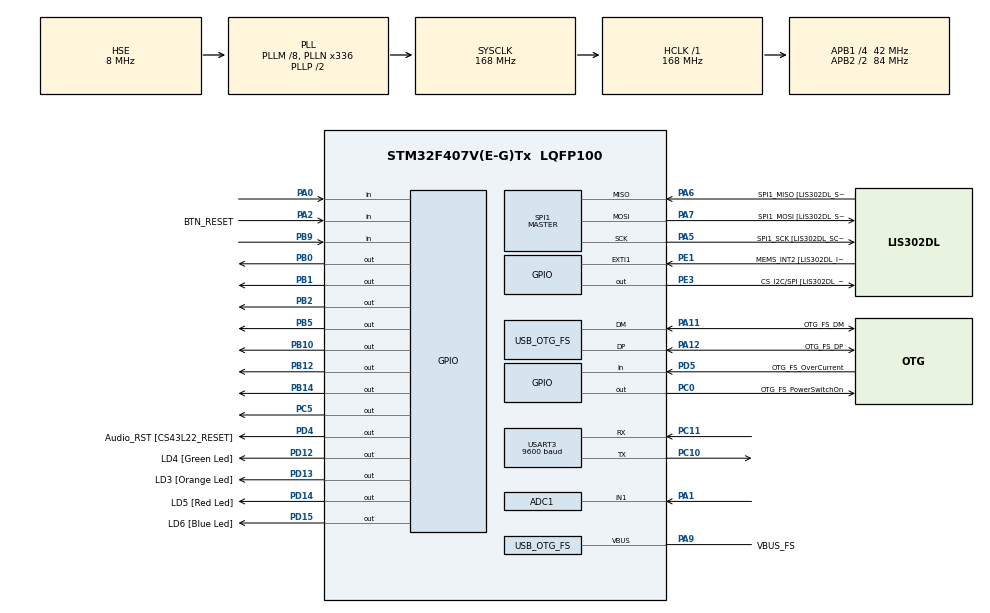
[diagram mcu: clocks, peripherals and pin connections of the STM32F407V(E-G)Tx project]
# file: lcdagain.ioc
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ADC1.Channel-1\#ChannelRegularConversion=ADC_CHANNEL_1
ADC1.NbrOfConversionFlag=1
ADC1.Rank-1\#ChannelRegularConversion=1
ADC1.SamplingTime-1\#ChannelRegularConversion=ADC_SAMPLETIME_3CYCLES
ADC1.master=1
Mcu.Family=STM32F4
Mcu.Name=STM32F407V(E-G)Tx
Mcu.Package=LQFP100
NVIC.OTG_FS_IRQn=true\:0\:0\:false\:false\:true\:true\:true\:true
NVIC.PriorityGroup=NVIC_PRIORITYGROUP_0
PA0-WKUP.GPIO_PuPd=GPIO_PULLUP
PA0-WKUP.Signal=GPIO_Input
PA1.Signal=ADCx_IN1
PA10.GPIO_Label=OTG_FS_ID
PA10.GPIO_Mode=GPIO_MODE_AF_PP
PA10.GPIO_PuPd=GPIO_NOPULL
PA10.GPIO_Speed=GPIO_SPEED_FREQ_LOW
PA10.Signal=USB_OTG_FS_ID
PA11.GPIO_Label=OTG_FS_DM
PA11.GPIO_Mode=GPIO_MODE_AF_PP
PA11.GPIO_PuPd=GPIO_NOPULL
PA11.GPIO_Speed=GPIO_SPEED_FREQ_LOW
PA11.Mode=Host_Only
PA11.Signal=USB_OTG_FS_DM
PA12.GPIO_Label=OTG_FS_DP
PA12.GPIO_Mode=GPIO_MODE_AF_PP
PA12.GPIO_PuPd=GPIO_NOPULL
PA12.GPIO_Speed=GPIO_SPEED_FREQ_LOW
PA12.Mode=Host_Only
PA12.Signal=USB_OTG_FS_DP
PA13.GPIO_Label=SWDIO
PA13.Mode=Serial_Wire
PA13.Signal=SYS_JTMS-SWDIO
PA14.GPIO_Label=SWCLK
PA14.Mode=Serial_Wire
PA14.Signal=SYS_JTCK-SWCLK
PA2.GPIO_Label=BTN_RESET
PA2.GPIO_PuPd=GPIO_PULLDOWN
PA2.Signal=GPIO_Input
PA4.GPIO_Label=I2S3_WS [CS43L22_LRCK]
PA4.GPIO_Mode=GPIO_MODE_AF_PP
PA4.GPIO_PuPd=GPIO_NOPULL
PA4.GPIO_Speed=GPIO_SPEED_FREQ_LOW
PA4.Signal=I2S3_WS
PA5.GPIO_Label=SPI1_SCK [LIS302DL_SCL/SPC]
PA5.GPIO_Mode=GPIO_MODE_AF_PP
PA5.GPIO_PuPd=GPIO_NOPULL
PA5.GPIO_Speed=GPIO_SPEED_FREQ_LOW
PA5.Mode=Full_Duplex_Master
PA5.Signal=SPI1_SCK
PA6.GPIO_Label=SPI1_MISO [LIS302DL_SDO]
PA6.GPIO_Mode=GPIO_MODE_AF_PP
PA6.GPIO_PuPd=GPIO_NOPULL
PA6.GPIO_Speed=GPIO_SPEED_FREQ_LOW
PA6.Mode=Full_Duplex_Master
PA6.Signal=SPI1_MISO
PA7.GPIO_Label=SPI1_MOSI [LIS302DL_SDA/SDI/SDO]
PA7.GPIO_Mode=GPIO_MODE_AF_PP
PA7.GPIO_PuPd=GPIO_NOPULL
PA7.GPIO_Speed=GPIO_SPEED_FREQ_LOW
PA7.Mode=Full_Duplex_Master
PA7.Signal=SPI1_MOSI
PA9.GPIO_Label=VBUS_FS
PA9.GPIO_Mode=GPIO_MODE_INPUT
PA9.GPIO_PuPd=GPIO_NOPULL
PA9.Mode=Activate_VBUS
PA9.Signal=USB_OTG_FS_VBUS
PB0.Signal=GPIO_Output
PB1.Signal=GPIO_Output
PB10.Signal=GPIO_Output
PB12.Signal=GPIO_Output
PB14.Signal=GPIO_Output
PB2.Signal=GPIO_Output
PB3.GPIO_Label=SWO
PB3.Signal=SYS_JTDO-SWO
PB5.Signal=GPIO_Output
PB6.GPIO_Label=Audio_SCL [CS43L22_SCL]
PB6.GPIO_Mode=GPIO_MODE_AF_OD
PB6.GPIO_Pu=GPIO_PULLUP
PB6.GPIO_PuPd=GPIO_NOPULL
PB6.GPIO_Speed=GPIO_SPEED_FREQ_LOW
PB6.Signal=I2C1_SCL
PB9.Signal=GPIO_Input
PC0.GPIO_Label=OTG_FS_PowerSwitchOn
PC0.GPIO_PuPd=GPIO_NOPULL
PC0.GPIO_Speed=GPIO_SPEED_FREQ_LOW
PC0.PinState=GPIO_PIN_SET
PC0.Signal=GPIO_Output
PC10.Mode=Asynchronous
PC10.Signal=USART3_TX
PC11.Mode=Asynchronous
PC11.Signal=USART3_RX
PC12.GPIO_Label=I2S3_SD [CS43L22_SDIN]
PC12.GPIO_Mode=GPIO_MODE_AF_PP
PC12.GPIO_PuPd=GPIO_NOPULL
PC12.GPIO_Speed=GPIO_SPEED_FREQ_LOW
PC12.Signal=I2S3_SD
PC14-OSC32_IN.GPIO_Label=PC14-OSC32_IN
PC14-OSC32_IN.Mode=LSE-External-Oscillator
PC14-OSC32_IN.Signal=RCC_OSC32_IN
PC15-OSC32_OUT.GPIO_Label=PC15-OSC32_OUT
PC15-OSC32_OUT.Mode=LSE-External-Oscillator
PC15-OSC32_OUT.Signal=RCC_OSC32_OUT
PC3.GPIO_Label=PDM_OUT [MP45DT02_DOUT]
PC3.GPIO_Mode=GPIO_MODE_AF_PP
PC3.GPIO_PuPd=GPIO_NOPULL
PC3.GPIO_Speed=GPIO_SPEED_FREQ_LOW
PC3.Signal=I2S2_SD
PC5.Signal=GPIO_Output
PC7.GPIO_Label=I2S3_MCK [CS43L22_MCLK]
PC7.GPIO_Mode=GPIO_MODE_AF_PP
PC7.GPIO_PuPd=GPIO_NOPULL
PC7.GPIO_Speed=GPIO_SPEED_FREQ_LOW
PC7.Signal=I2S3_MCK
PD12.GPIO_Label=LD4 [Green Led]
PD12.GPIO_PuPd=GPIO_NOPULL
PD12.GPIO_Speed=GPIO_SPEED_FREQ_LOW
PD12.Signal=GPIO_Output
PD13.GPIO_Label=LD3 [Orange Led]
PD13.GPIO_PuPd=GPIO_NOPULL
PD13.GPIO_Speed=GPIO_SPEED_FREQ_LOW
PD13.Signal=GPIO_Output
PD14.GPIO_Label=LD5 [Red Led]
PD14.GPIO_PuPd=GPIO_NOPULL
PD14.GPIO_Speed=GPIO_SPEED_FREQ_LOW
PD14.Signal=GPIO_Output
PD15.GPIO_Label=LD6 [Blue Led]
PD15.GPIO_PuPd=GPIO_NOPULL
PD15.GPIO_Speed=GPIO_SPEED_FREQ_LOW
PD15.Signal=GPIO_Output
PD4.GPIO_Label=Audio_RST [CS43L22_RESET]
PD4.GPIO_PuPd=GPIO_NOPULL
PD4.GPIO_Speed=GPIO_SPEED_FREQ_LOW
PD4.Signal=GPIO_Output
PD5.GPIO_Label=OTG_FS_OverCurrent
PD5.GPIO_Mode=GPIO_MODE_INPUT
PD5.GPIO_PuPd=GPIO_NOPULL
PD5.Signal=GPIO_Input
PE1.GPIO_Label=MEMS_INT2 [LIS302DL_INT2]
PE1.GPIO_ModeDefaultEXTI=GPIO_MODE_EVT_RISING
PE1.GPIO_PuPd=GPIO_NOPULL
PE1.Signal=GPXTI1
PE3.GPIO_Label=CS_I2C/SPI [LIS302DL_CS_I2C/SPI]
PE3.GPIO_PuPd=GPIO_NOPULL
PE3.GPIO_Speed=GPIO_SPEED_FREQ_LOW
PE3.Signal=GPIO_Output
PH0-OSC_IN.GPIO_Label=PH0-OSC_IN
PH0-OSC_IN.Mode=HSE-External-Oscillator
PH0-OSC_IN.Signal=RCC_OSC_IN
PH1-OSC_OUT.GPIO_Label=PH1-OSC_OUT
PH1-OSC_OUT.Mode=HSE-External-Oscillator
PH1-OSC_OUT.Signal=RCC_OSC_OUT
ProjectManager.HeapSize=0x200
ProjectManager.StackSize=0x400
ProjectManager.TargetToolchain=STM32CubeIDE
RCC.48MHZClocksFreq_Value=48000000
RCC.AHBFreq_Value=168000000
RCC.APB1CLKDivider=RCC_HCLK_DIV4
RCC.APB1Freq_Value=42000000
RCC.APB1TimFreq_Value=84000000
RCC.APB2CLKDivider=RCC_HCLK_DIV2
RCC.APB2Freq_Value=84000000
RCC.APB2TimFreq_Value=168000000
RCC.CortexFreq_Value=168000000
RCC.HCLKFreq_Value=168000000
RCC.HSE_VALUE=8000000
RCC.HSI_VALUE=16000000
RCC.PLLM=8
RCC.PLLN=336
RCC.PLLQ=7
RCC.SYSCLKFreq_VALUE=168000000
RCC.SYSCLKSource=RCC_SYSCLKSOURCE_PLLCLK
RCC.VCOOutputFreq_Value=336000000
SH.ADCx_IN1.0=ADC1_IN1,IN1
SPI1.BaudRatePrescaler-Full_Duplex_Master=SPI_BAUDRATEPRESCALER_2
SPI1.CalculateBaudRate-Full_Duplex_Master=42.0 MBits/s
SPI1.Direction=SPI_DIRECTION_2LINES
SPI1.Mode=SPI_MODE_MASTER
SPI1.Mode-Full_Duplex_Master=SPI_MODE_MASTER
SPI1.VirtualType=VM_MASTER
TIM2.Period=4294967295
TIM2.Prescaler=83
USART3.BaudRate=9600
USART3.VirtualMode=VM_ASYNC
USB_HOST.BSP.number=1
USB_HOST.USBH_HandleTypeDef-CDC_FS=hUsbHostFS
USB_HOST.VirtualModeFS=Cdc
USB_HOST0.BSP.STBoard=false
USB_HOST0.BSP.api=Unknown
USB_HOST0.BSP.instance=PC0
USB_HOST0.BSP.ip=GPIO
USB_HOST0.BSP.mode=Output
USB_HOST0.BSP.name=Drive_VBUS_FS
USB_HOST0.BSP.solution=PC0
USB_OTG_FS.VirtualMode=Host_Only
USB_OTG_FS.phy_itface=HCD_PHY_EMBEDDED
VP_TIM2_VS_ClockSourceINT.Mode=Internal
VP_USB_HOST_VS_USB_HOST_CDC_FS.Mode=CDC_FS
board=STM32F407G-DISC1

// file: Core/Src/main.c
/* USER CODE BEGIN Header */
/**
  ******************************************************************************
  * @file           : main.c
  * @brief          : Main program body
  ******************************************************************************
  * @attention
  *
  * Copyright (c) 2025 STMicroelectronics.
  * All rights reserved.
  *
  * This software is licensed under terms that can be found in the LICENSE file
  * in the root directory of this software component.
  * If no LICENSE file comes with this software, it is provided AS-IS.
  *
  ******************************************************************************
  */
/* USER CODE END Header */
#include "main.h"
#include "usb_host.h"

/* USER CODE BEGIN Includes */
#include "lcd.h"
#include <math.h>
#include <string.h>
#include <stdio.h>
#include "dht22.h"
/* USER CODE END Includes */

ADC_HandleTypeDef hadc1;

SPI_HandleTypeDef hspi1;

TIM_HandleTypeDef htim2;

UART_HandleTypeDef huart3;

/* USER CODE BEGIN PV */
extern TIM_HandleTypeDef htim2;   // you already have TIM2 handle
DHT22_Data dht;                   // holds Temperature (°C) and Humidity (%RH)
uint32_t dht_last_ms = 0;    // to enforce DHT22 ≥2s sampling interval
#define BUZZER_PORT GPIOC
#define BUZZER_PIN  GPIO_PIN_5

/* USER CODE END PV */

void SystemClock_Config(void);
static void MX_GPIO_Init(void);
static void MX_SPI1_Init(void);
static void MX_ADC1_Init(void);
static void MX_USART3_UART_Init(void);
static void MX_TIM2_Init(void);
void MX_USB_HOST_Process(void);

/* USER CODE BEGIN 0 */
uint32_t mq_raw = 0;
float mq_voltage = 0;
float Rs = 0, ratio = 0;
uint8_t ldr_state = 0;
int alarm = 0;          // GLOBAL alarm flag
int alarm_latched = 0;  // stays ON until reset button pressed

// Calibration constant (You can calibrate later)
float Ro = 10.0;  // Assume clean-air baseline
/* USER CODE END 0 */

int main(void)
{

  /* USER CODE BEGIN 1 */
//	float temp, hum;

  /* USER CODE END 1 */

  /* MCU Configuration--------------------------------------------------------*/

  /* Reset of all peripherals, Initializes the Flash interface and the Systick. */
																																																																																																																																																																																																																																																																																																																																																																													HAL_Init();

  /* Configure the system clock */
  SystemClock_Config();

  /* Initialize all configured peripherals */
  MX_GPIO_Init();
  MX_SPI1_Init();
  MX_USB_HOST_Init();
  MX_ADC1_Init();
  MX_USART3_UART_Init();
  MX_TIM2_Init();
  /* USER CODE BEGIN 2 */
  HAL_TIM_Base_Start(&htim2);

  // ---- LCD POWER-UP FIX (prevents garbage on first boot) ----
  HAL_Delay(50);
  LCD_SendCommand(0x30);
  HAL_Delay(5);
  LCD_SendCommand(0x30);
  HAL_Delay(1);
  LCD_SendCommand(0x30);
  HAL_Delay(1);

  LCD_Init();
  LCD_SendCommand(0x01);
  HAL_Delay(3000);
  LCD_SendCommand(0x01);
  LCD_SendString("MQ2 Initializing");
  HAL_Delay(2000);

  // Start ADC
  HAL_ADC_Start(&hadc1);

  LCD_SendCommand(0x01);
  LCD_SendString("MQ2 Ready");
  HAL_Delay(1000);

  // ---- Initialize LCD ----
//  LCD_Init();
  HAL_Delay(500);

  LCD_SendCommand(0x01);
  LCD_SendString("Sending start...");
  HAL_Delay(2000);
  HAL_GPIO_WritePin(BUZZER_PORT, BUZZER_PIN, GPIO_PIN_RESET);

  /* USER CODE END 2 */

  /* Infinite loop */
  while (1)
  {
	  MX_USB_HOST_Process();

	      // --------- LDR ---------
	      ldr_state = HAL_GPIO_ReadPin(GPIOA, GPIO_PIN_0);
	      int L = (ldr_state == GPIO_PIN_RESET) ? 1 : 0;
	      char *ldr_text = (L == 1) ? "BRIGHT" : "DARK";

	      // --------- MQ-2 ADC ---------
	      HAL_ADC_Start(&hadc1);
	      HAL_ADC_PollForConversion(&hadc1, 100);
	      mq_raw = HAL_ADC_GetValue(&hadc1);

	      mq_voltage = (mq_raw * 3.3f) / 4095.0f;
	      Rs = (3.3f - mq_voltage) / (mq_voltage + 1e-6f);
	      ratio = Rs / Ro;

	      float ppm_lpg   = pow(10, ((log10(ratio) - (-0.47)) / (-0.36)));
	      float ppm_smoke = pow(10, ((log10(ratio) - (-0.42)) / (-0.48)));
	      float ppm_co    = pow(10, ((log10(ratio) - (-0.37)) / (-0.33)));

	      // --------- DHT22 every 2 sec ---------
	      if (HAL_GetTick() - dht_last_ms >= 2100)
	      {
	          DHT22_Read(&dht);
	          dht_last_ms = HAL_GetTick();
	      }

	      // --------- BUZZER THRESHOLDS ---------
	      int alarm = 0;

	      if (dht.Temperature > 30.0) alarm = 1;
//	      if (dht.Humidity > 70.) alarm = 1;
	      if (ppm_lpg   > 200.0)     alarm = 1;
	      if (ppm_smoke > 300.0)     alarm = 1;
	      if (ppm_co    > 50.0)      alarm = 1;

	      // --------- LATCH ALARM UNTIL RESET BUTTON PRESSED ---------
	      if (alarm) {
	          alarm_latched = 1;   // once alarm goes ON, it stays ON
	      }

	      // --------- RESET BUTTON (PA2, PULL-DOWN) ---------
	      if (HAL_GPIO_ReadPin(GPIOA, GPIO_PIN_2) == GPIO_PIN_SET)   // button pressed
	      {
	          HAL_Delay(50); // debounce
	          if (HAL_GPIO_ReadPin(GPIOA, GPIO_PIN_2) == GPIO_PIN_SET)
	          {
	              alarm_latched = 0;
	              HAL_GPIO_WritePin(BUZZER_PORT, BUZZER_PIN, GPIO_PIN_RESET);

	              // LCD feedback
	              LCD_SendCommand(0x01);
	              LCD_SendString(" Alarm Reset ");
	              HAL_Delay(500);
	          }
	      }

	      if (alarm_latched)
	          HAL_GPIO_WritePin(BUZZER_PORT, BUZZER_PIN, GPIO_PIN_SET);
	      else
	          HAL_GPIO_WritePin(BUZZER_PORT, BUZZER_PIN, GPIO_PIN_RESET);

	      // --------- LCD: ALL VALUES ON ONE SCREEN ---------
	      LCD_SendCommand(0x01);
	      HAL_Delay(5);

	      char line1[17];
	      snprintf(line1, sizeof(line1), "T:%2.0f H:%2.0f L:%c",
	               dht.Temperature, dht.Humidity, (L ? 'B' : 'D'));
	      LCD_SetCursor(0,0);
	      LCD_SendString(line1);

	      char line2[17];
	      snprintf(line2, sizeof(line2), "LPG:%3.0f CO:%3.0f", ppm_lpg, ppm_co);
	      LCD_SetCursor(1,0);
	      LCD_SendString(line2);

	      // --------- Bluetooth ---------
	      char bt_msg[200];
	      snprintf(bt_msg, sizeof(bt_msg),
	               "TEMP=%.1f,HUM=%.1f,LDR=%s,LPG=%.0f,SMOKE=%.0f,CO=%.0f,ALARM=%d\r\n",
	               dht.Temperature, dht.Humidity, ldr_text,
	               ppm_lpg, ppm_smoke, ppm_co, alarm_latched);

	      HAL_UART_Transmit(&huart3, (uint8_t*)bt_msg, strlen(bt_msg), 100);

	      HAL_Delay(500);
  }
  /* USER CODE END 3 */
}

void SystemClock_Config(void)
{
  RCC_OscInitTypeDef RCC_OscInitStruct = {0};
  RCC_ClkInitTypeDef RCC_ClkInitStruct = {0};

  /** Configure the main internal regulator output voltage
  */
  __HAL_RCC_PWR_CLK_ENABLE();
  __HAL_PWR_VOLTAGESCALING_CONFIG(PWR_REGULATOR_VOLTAGE_SCALE1);

  /** Initializes the RCC Oscillators according to the specified parameters
  * in the RCC_OscInitTypeDef structure.
  */
  RCC_OscInitStruct.OscillatorType = RCC_OSCILLATORTYPE_HSE;
  RCC_OscInitStruct.HSEState = RCC_HSE_ON;
  RCC_OscInitStruct.PLL.PLLState = RCC_PLL_ON;
  RCC_OscInitStruct.PLL.PLLSource = RCC_PLLSOURCE_HSE;
  RCC_OscInitStruct.PLL.PLLM = 8;
  RCC_OscInitStruct.PLL.PLLN = 336;
  RCC_OscInitStruct.PLL.PLLP = RCC_PLLP_DIV2;
  RCC_OscInitStruct.PLL.PLLQ = 7;
  if (HAL_RCC_OscConfig(&RCC_OscInitStruct) != HAL_OK)
  {
    Error_Handler();
  }

  /** Initializes the CPU, AHB and APB buses clocks
  */
  RCC_ClkInitStruct.ClockType = RCC_CLOCKTYPE_HCLK|RCC_CLOCKTYPE_SYSCLK
                              |RCC_CLOCKTYPE_PCLK1|RCC_CLOCKTYPE_PCLK2;
  RCC_ClkInitStruct.SYSCLKSource = RCC_SYSCLKSOURCE_PLLCLK;
  RCC_ClkInitStruct.AHBCLKDivider = RCC_SYSCLK_DIV1;
  RCC_ClkInitStruct.APB1CLKDivider = RCC_HCLK_DIV4;
  RCC_ClkInitStruct.APB2CLKDivider = RCC_HCLK_DIV2;

  if (HAL_RCC_ClockConfig(&RCC_ClkInitStruct, FLASH_LATENCY_5) != HAL_OK)
  {
    Error_Handler();
  }
}

static void MX_ADC1_Init(void)
{

  ADC_ChannelConfTypeDef sConfig = {0};

  /** Configure the global features of the ADC (Clock, Resolution, Data Alignment and number of conversion)
  */
  hadc1.Instance = ADC1;
  hadc1.Init.ClockPrescaler = ADC_CLOCK_SYNC_PCLK_DIV4;
  hadc1.Init.Resolution = ADC_RESOLUTION_12B;
  hadc1.Init.ScanConvMode = DISABLE;
  hadc1.Init.ContinuousConvMode = DISABLE;
  hadc1.Init.DiscontinuousConvMode = DISABLE;
  hadc1.Init.ExternalTrigConvEdge = ADC_EXTERNALTRIGCONVEDGE_NONE;
  hadc1.Init.ExternalTrigConv = ADC_SOFTWARE_START;
  hadc1.Init.DataAlign = ADC_DATAALIGN_RIGHT;
  hadc1.Init.NbrOfConversion = 1;
  hadc1.Init.DMAContinuousRequests = DISABLE;
  hadc1.Init.EOCSelection = ADC_EOC_SINGLE_CONV;
  if (HAL_ADC_Init(&hadc1) != HAL_OK)
  {
    Error_Handler();
  }

  /** Configure for the selected ADC regular channel its corresponding rank in the sequencer and its sample time.
  */
  sConfig.Channel = ADC_CHANNEL_1;
  sConfig.Rank = 1;
  sConfig.SamplingTime = ADC_SAMPLETIME_3CYCLES;
  if (HAL_ADC_ConfigChannel(&hadc1, &sConfig) != HAL_OK)
  {
    Error_Handler();
  }

}

static void MX_SPI1_Init(void)
{

  /* SPI1 parameter configuration*/
  hspi1.Instance = SPI1;
  hspi1.Init.Mode = SPI_MODE_MASTER;
  hspi1.Init.Direction = SPI_DIRECTION_2LINES;
  hspi1.Init.DataSize = SPI_DATASIZE_8BIT;
  hspi1.Init.CLKPolarity = SPI_POLARITY_LOW;
  hspi1.Init.CLKPhase = SPI_PHASE_1EDGE;
  hspi1.Init.NSS = SPI_NSS_SOFT;
  hspi1.Init.BaudRatePrescaler = SPI_BAUDRATEPRESCALER_2;
  hspi1.Init.FirstBit = SPI_FIRSTBIT_MSB;
  hspi1.Init.TIMode = SPI_TIMODE_DISABLE;
  hspi1.Init.CRCCalculation = SPI_CRCCALCULATION_DISABLE;
  hspi1.Init.CRCPolynomial = 10;
  if (HAL_SPI_Init(&hspi1) != HAL_OK)
  {
    Error_Handler();
  }

}

static void MX_TIM2_Init(void)
{

  TIM_ClockConfigTypeDef sClockSourceConfig = {0};
  TIM_MasterConfigTypeDef sMasterConfig = {0};

  htim2.Instance = TIM2;
  htim2.Init.Prescaler = 83;
  htim2.Init.CounterMode = TIM_COUNTERMODE_UP;
  htim2.Init.Period = 4294967295;
  htim2.Init.ClockDivision = TIM_CLOCKDIVISION_DIV1;
  htim2.Init.AutoReloadPreload = TIM_AUTORELOAD_PRELOAD_DISABLE;
  if (HAL_TIM_Base_Init(&htim2) != HAL_OK)
  {
    Error_Handler();
  }
  sClockSourceConfig.ClockSource = TIM_CLOCKSOURCE_INTERNAL;
  if (HAL_TIM_ConfigClockSource(&htim2, &sClockSourceConfig) != HAL_OK)
  {
    Error_Handler();
  }
  sMasterConfig.MasterOutputTrigger = TIM_TRGO_RESET;
  sMasterConfig.MasterSlaveMode = TIM_MASTERSLAVEMODE_DISABLE;
  if (HAL_TIMEx_MasterConfigSynchronization(&htim2, &sMasterConfig) != HAL_OK)
  {
    Error_Handler();
  }

}

static void MX_USART3_UART_Init(void)
{

  huart3.Instance = USART3;
  huart3.Init.BaudRate = 9600;
  huart3.Init.WordLength = UART_WORDLENGTH_8B;
  huart3.Init.StopBits = UART_STOPBITS_1;
  huart3.Init.Parity = UART_PARITY_NONE;
  huart3.Init.Mode = UART_MODE_TX_RX;
  huart3.Init.HwFlowCtl = UART_HWCONTROL_NONE;
  huart3.Init.OverSampling = UART_OVERSAMPLING_16;
  if (HAL_UART_Init(&huart3) != HAL_OK)
  {
    Error_Handler();
  }

}

static void MX_GPIO_Init(void)
{
  GPIO_InitTypeDef GPIO_InitStruct = {0};

  /* GPIO Ports Clock Enable */
  __HAL_RCC_GPIOE_CLK_ENABLE();
  __HAL_RCC_GPIOC_CLK_ENABLE();
  __HAL_RCC_GPIOH_CLK_ENABLE();
  __HAL_RCC_GPIOA_CLK_ENABLE();
  __HAL_RCC_GPIOB_CLK_ENABLE();
  __HAL_RCC_GPIOD_CLK_ENABLE();

  /*Configure GPIO pin Output Level */
  HAL_GPIO_WritePin(CS_I2C_SPI_GPIO_Port, CS_I2C_SPI_Pin, GPIO_PIN_RESET);

  /*Configure GPIO pin Output Level */
  HAL_GPIO_WritePin(OTG_FS_PowerSwitchOn_GPIO_Port, OTG_FS_PowerSwitchOn_Pin, GPIO_PIN_SET);

  /*Configure GPIO pin Output Level */
  HAL_GPIO_WritePin(GPIOC, GPIO_PIN_5, GPIO_PIN_RESET);

  /*Configure GPIO pin Output Level */
  HAL_GPIO_WritePin(GPIOB, GPIO_PIN_0|GPIO_PIN_1|GPIO_PIN_2|GPIO_PIN_10
                          |GPIO_PIN_12|GPIO_PIN_14|GPIO_PIN_5, GPIO_PIN_RESET);

  /*Configure GPIO pin Output Level */
  HAL_GPIO_WritePin(GPIOD, LD4_Pin|LD3_Pin|LD5_Pin|LD6_Pin
                          |Audio_RST_Pin, GPIO_PIN_RESET);

  /*Configure GPIO pin : CS_I2C_SPI_Pin */
  GPIO_InitStruct.Pin = CS_I2C_SPI_Pin;
  GPIO_InitStruct.Mode = GPIO_MODE_OUTPUT_PP;
  GPIO_InitStruct.Pull = GPIO_NOPULL;
  GPIO_InitStruct.Speed = GPIO_SPEED_FREQ_LOW;
  HAL_GPIO_Init(CS_I2C_SPI_GPIO_Port, &GPIO_InitStruct);

  /*Configure GPIO pins : OTG_FS_PowerSwitchOn_Pin PC5 */
  GPIO_InitStruct.Pin = OTG_FS_PowerSwitchOn_Pin|GPIO_PIN_5;
  GPIO_InitStruct.Mode = GPIO_MODE_OUTPUT_PP;
  GPIO_InitStruct.Pull = GPIO_NOPULL;
  GPIO_InitStruct.Speed = GPIO_SPEED_FREQ_LOW;
  HAL_GPIO_Init(GPIOC, &GPIO_InitStruct);

  /*Configure GPIO pin : PDM_OUT_Pin */
  GPIO_InitStruct.Pin = PDM_OUT_Pin;
  GPIO_InitStruct.Mode = GPIO_MODE_AF_PP;
  GPIO_InitStruct.Pull = GPIO_NOPULL;
  GPIO_InitStruct.Speed = GPIO_SPEED_FREQ_LOW;
  GPIO_InitStruct.Alternate = GPIO_AF5_SPI2;
  HAL_GPIO_Init(PDM_OUT_GPIO_Port, &GPIO_InitStruct);

  /*Configure GPIO pin : PA0 */
  GPIO_InitStruct.Pin = GPIO_PIN_0;
  GPIO_InitStruct.Mode = GPIO_MODE_INPUT;
  GPIO_InitStruct.Pull = GPIO_PULLUP;
  HAL_GPIO_Init(GPIOA, &GPIO_InitStruct);

  /*Configure GPIO pin : I2S3_WS_Pin */
  GPIO_InitStruct.Pin = I2S3_WS_Pin;
  GPIO_InitStruct.Mode = GPIO_MODE_AF_PP;
  GPIO_InitStruct.Pull = GPIO_NOPULL;
  GPIO_InitStruct.Speed = GPIO_SPEED_FREQ_LOW;
  GPIO_InitStruct.Alternate = GPIO_AF6_SPI3;
  HAL_GPIO_Init(I2S3_WS_GPIO_Port, &GPIO_InitStruct);

  /*Configure GPIO pins : PB0 PB1 PB2 PB10
                           PB12 PB14 PB5 */
  GPIO_InitStruct.Pin = GPIO_PIN_0|GPIO_PIN_1|GPIO_PIN_2|GPIO_PIN_10
                          |GPIO_PIN_12|GPIO_PIN_14|GPIO_PIN_5;
  GPIO_InitStruct.Mode = GPIO_MODE_OUTPUT_PP;
  GPIO_InitStruct.Pull = GPIO_NOPULL;
  GPIO_InitStruct.Speed = GPIO_SPEED_FREQ_LOW;
  HAL_GPIO_Init(GPIOB, &GPIO_InitStruct);

  /*Configure GPIO pins : LD4_Pin LD3_Pin LD5_Pin LD6_Pin
                           Audio_RST_Pin */
  GPIO_InitStruct.Pin = LD4_Pin|LD3_Pin|LD5_Pin|LD6_Pin
                          |Audio_RST_Pin;
  GPIO_InitStruct.Mode = GPIO_MODE_OUTPUT_PP;
  GPIO_InitStruct.Pull = GPIO_NOPULL;
  GPIO_InitStruct.Speed = GPIO_SPEED_FREQ_LOW;
  HAL_GPIO_Init(GPIOD, &GPIO_InitStruct);

  /*Configure GPIO pins : I2S3_MCK_Pin I2S3_SD_Pin */
  GPIO_InitStruct.Pin = I2S3_MCK_Pin|I2S3_SD_Pin;
  GPIO_InitStruct.Mode = GPIO_MODE_AF_PP;
  GPIO_InitStruct.Pull = GPIO_NOPULL;
  GPIO_InitStruct.Speed = GPIO_SPEED_FREQ_LOW;
  GPIO_InitStruct.Alternate = GPIO_AF6_SPI3;
  HAL_GPIO_Init(GPIOC, &GPIO_InitStruct);

  /*Configure GPIO pin : OTG_FS_OverCurrent_Pin */
  GPIO_InitStruct.Pin = OTG_FS_OverCurrent_Pin;
  GPIO_InitStruct.Mode = GPIO_MODE_INPUT;
  GPIO_InitStruct.Pull = GPIO_NOPULL;
  HAL_GPIO_Init(OTG_FS_OverCurrent_GPIO_Port, &GPIO_InitStruct);

  /*Configure GPIO pin : Audio_SCL_Pin */
  GPIO_InitStruct.Pin = Audio_SCL_Pin;
  GPIO_InitStruct.Mode = GPIO_MODE_AF_OD;
  GPIO_InitStruct.Pull = GPIO_PULLUP;
  GPIO_InitStruct.Speed = GPIO_SPEED_FREQ_LOW;
  GPIO_InitStruct.Alternate = GPIO_AF4_I2C1;
  HAL_GPIO_Init(Audio_SCL_GPIO_Port, &GPIO_InitStruct);

  /*Configure GPIO pin : PB9 */
  GPIO_InitStruct.Pin = GPIO_PIN_9;
  GPIO_InitStruct.Mode = GPIO_MODE_INPUT;
  GPIO_InitStruct.Pull = GPIO_NOPULL;
  HAL_GPIO_Init(GPIOB, &GPIO_InitStruct);

  /*Configure GPIO pin : MEMS_INT2_Pin */
  GPIO_InitStruct.Pin = MEMS_INT2_Pin;
  GPIO_InitStruct.Mode = GPIO_MODE_EVT_RISING;
  GPIO_InitStruct.Pull = GPIO_NOPULL;
  HAL_GPIO_Init(MEMS_INT2_GPIO_Port, &GPIO_InitStruct);

}

void Error_Handler(void)
{
  __disable_irq();
  while (1)
  {
  }
}
